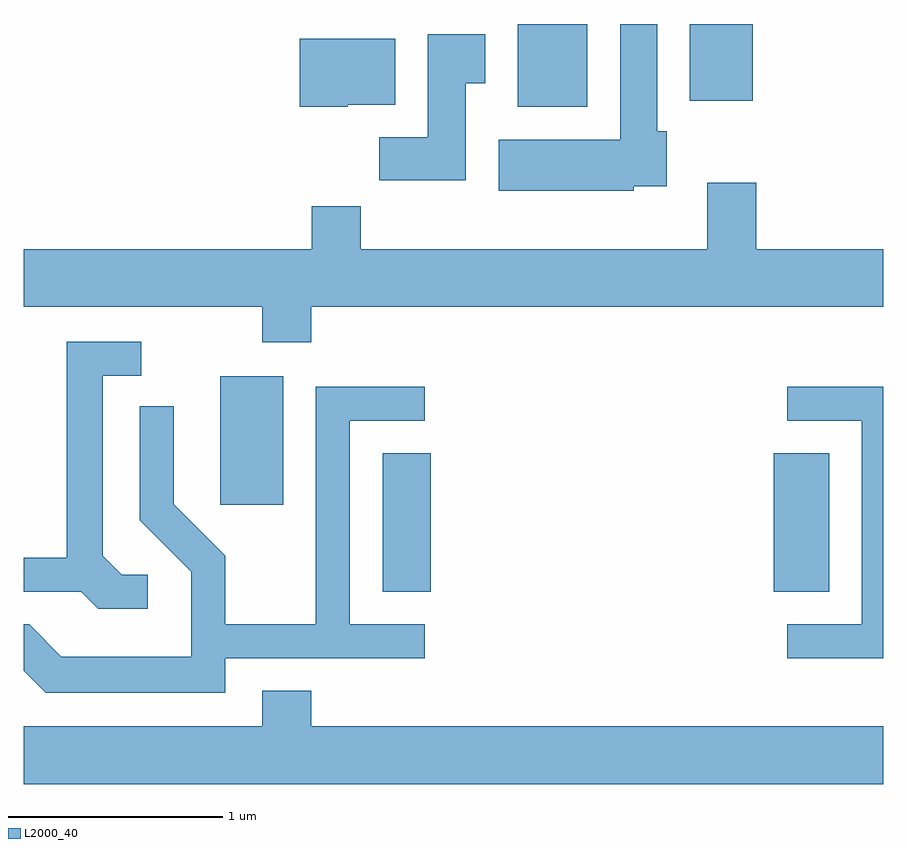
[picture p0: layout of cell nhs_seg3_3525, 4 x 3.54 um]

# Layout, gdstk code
import gdstk
lib = gdstk.Library(unit=1e-6, precision=1e-09)
def R(c, l, rs):  # rectangles x0, y0, x1, y1
    for r in rs: c.add(gdstk.rectangle(r[:2], r[2:], *l))
def P(c, l, *ps):  # polygons
    for p in ps: c.add(gdstk.Polygon(p, *l))
L2000_40 = (2000, 40)

nhs_seg3_3525 = lib.new_cell('nhs_seg3_3525')
R(nhs_seg3_3525, L2000_40, [(289.281,1231.251,289.504,1231.894), (291.101,1231.251,291.359,1231.894), (288.526,1231.656,288.819,1232.254), (289.911,1233.506,290.234,1233.892), (290.711,1233.536,291.004,1233.892)])
P(nhs_seg3_3525, L2000_40, [(290.449,1233.136),(290.604,1233.136),(290.604,1233.394),(290.559,1233.394),(290.559,1233.892),(290.386,1233.892),(290.386,1233.354),(289.821,1233.354),(289.821,1233.116),(290.449,1233.116)],
  [(289.669,1233.616),(289.759,1233.616),(289.759,1233.844),(289.491,1233.844),(289.491,1233.364),(289.266,1233.364),(289.266,1233.166),(289.669,1233.166)],
  [(289.12,1233.516),(289.339,1233.516),(289.339,1233.824),(288.896,1233.824),(288.896,1233.506),(289.12,1233.506)],
  [(288.949,1232.576),(291.611,1232.576),(291.611,1232.844),(291.019,1232.844),(291.019,1233.154),(290.791,1233.154),(290.791,1232.844),(289.179,1232.844),(289.179,1233.044),(288.951,1233.044),(288.951,1232.844),(287.611,1232.844),(287.611,1232.576),(288.721,1232.576),(288.721,1232.411),(288.949,1232.411)],
  [(288.188,1231.329),(288.067,1231.329),(287.979,1231.417),(287.979,1232.256),(288.158,1232.256),(288.158,1232.414),(287.811,1232.414),(287.811,1231.409),(287.611,1231.409),(287.611,1231.251),(287.879,1231.251),(287.959,1231.171),(288.188,1231.171)],
  [(291.611,1232.204),(291.163,1232.204),(291.163,1232.046),(291.511,1232.046),(291.511,1231.099),(291.163,1231.099),(291.163,1230.941),(291.611,1230.941)],
  [(288.549,1230.941),(289.478,1230.941),(289.478,1231.099),(289.129,1231.099),(289.129,1232.046),(289.478,1232.046),(289.478,1232.204),(288.971,1232.204),(288.971,1231.099),(288.549,1231.099),(288.549,1231.417),(288.309,1231.657),(288.309,1232.113),(288.151,1232.113),(288.151,1231.584),(288.391,1231.344),(288.391,1230.949),(287.787,1230.949),(287.637,1231.099),(287.611,1231.099),(287.611,1230.884),(287.714,1230.781),(288.549,1230.781)],
  [(291.611,1230.624),(288.949,1230.624),(288.949,1230.789),(288.721,1230.789),(288.721,1230.624),(287.611,1230.624),(287.611,1230.356),(291.611,1230.356)])

lib.write_gds('nhs_seg3_3525.gds')
